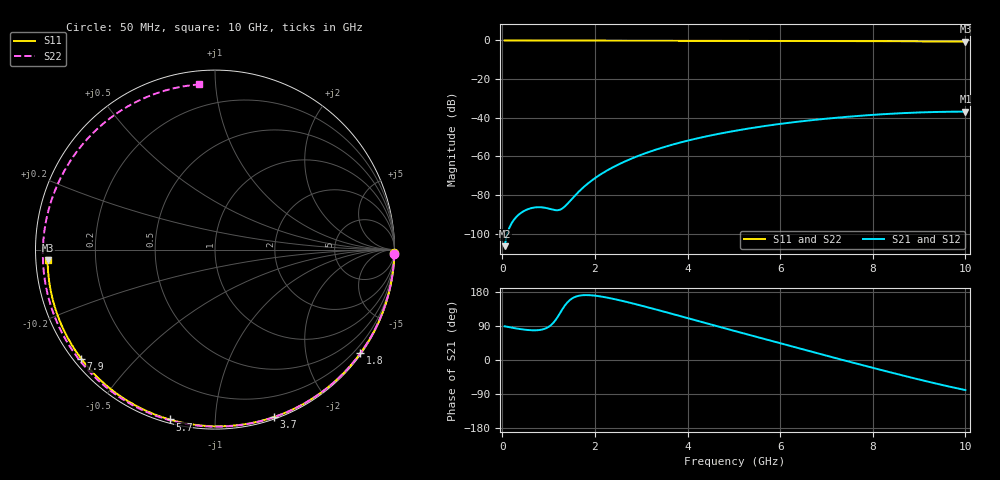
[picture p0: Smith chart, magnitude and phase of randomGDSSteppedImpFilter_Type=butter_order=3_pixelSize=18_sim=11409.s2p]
! freq	dB(S11)	phase(S11)	dB(S12)	phase(S12)
!  dB(S21)	phase(S21)	dB(S22)	phase(S22)
!S-par simulation data
#  GHz  S  DB  R 50
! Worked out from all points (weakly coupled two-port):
!   200 points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, 50 MHz to 10 GHz, reference 50 ohm
!   highest |S21| = -36.84 dB at 10 GHz (marker M1); lowest = -106.5 dB at 50 MHz (marker M2)
!   lowest |S11| = -0.6 dB at 10 GHz (marker M3), VSWR 29.61, Z = 1.69 - j1.59 ohm
!   |S11| at or under -10 dB: nowhere
!   |S22| runs from -0.7 to 0.0 dB; largest |S21 - S12| = 0
!   S11 on the Smith chart (normalised r, x): 50 MHz: open; 1.8 GHz: 0.03, -3.13; 3.7 GHz: 0.02, -1.41; 5.7 GHz: 0.02, -0.77; 7.9 GHz: 0.02, -0.36; 10 GHz: 0.03, -0.03
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0.05  -0.00 -1.0  -106.46 89.0  -106.46 89.0  -0.00 -1.4
0.75  -0.02 -14.9  -86.32 78.6  -86.32 78.6  -0.03 -20.5
1.55  -0.04 -30.6  -80.77 165.3  -80.77 165.3  -0.05 -41.8
1.6  -0.04 -31.6  -79.51 167.8  -79.51 167.8  -0.05 -43.1
1.75  -0.04 -34.5  -76.03 171.1  -76.03 171.1  -0.06 -47.1
1.8  -0.05 -35.4  -74.98 171.3  -74.98 171.3  -0.06 -48.4
2.1  -0.05 -41.2  -69.67 168.2  -69.67 168.2  -0.07 -56.1
2.45  -0.06 -47.8  -64.88 159.9  -64.88 159.9  -0.08 -65.1
2.9  -0.07 -56.2  -60.08 146.7  -60.08 146.7  -0.10 -76.3
3.4  -0.09 -65.3  -55.87 130.6  -55.87 130.6  -0.12 -88.6
3.7  -0.10 -70.7  -53.74 120.7  -53.74 120.7  -0.13 -95.8
4.35  -0.12 -82.1  -49.92 98.8  -49.92 98.8  -0.16 -111.2
5.05  -0.15 -94.1  -46.66 75.5  -46.66 75.5  -0.19 -127.6
5.7  -0.18 -105.0  -44.17 54.0  -44.17 54.0  -0.24 -142.8
6.7  -0.24 -121.3  -41.21 21.1  -41.21 21.1  -0.31 -166.8
7.3  -0.28 -131.0  -39.82 1.7  -39.82 1.7  -0.37 178.1
7.9  -0.34 -140.8  -38.68 -17.5  -38.68 -17.5  -0.43 162.1
8.35  -0.38 -148.1  -37.99 -31.6  -37.99 -31.6  -0.49 149.3
8.8  -0.43 -155.6  -37.45 -45.5  -37.45 -45.5  -0.54 135.8
9.25  -0.49 -163.2  -37.08 -58.8  -37.08 -58.8  -0.59 121.4
9.65  -0.54 -170.1  -36.89 -70.1  -36.89 -70.1  -0.64 107.8
10  -0.59 -176.3  -36.84 -79.4  -36.84 -79.4  -0.68 95.4
